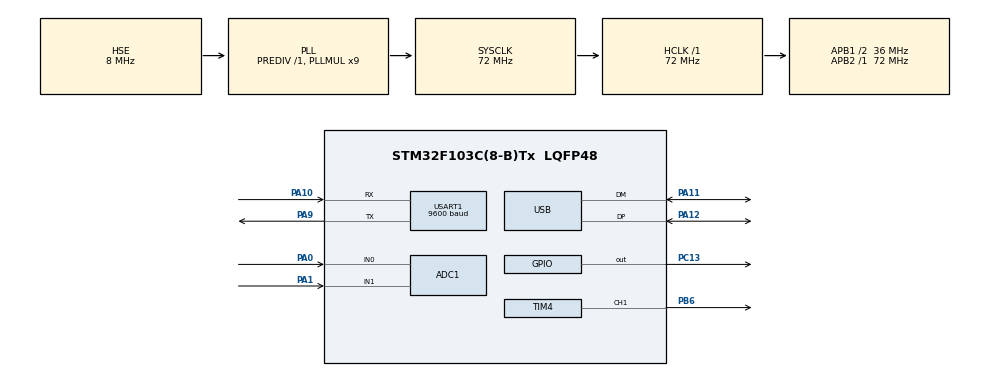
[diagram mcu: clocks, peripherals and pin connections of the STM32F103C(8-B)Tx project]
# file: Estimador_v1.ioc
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Mcu.Family=STM32F1
RCC.PLLSourceVirtual=RCC_PLLSOURCE_HSE
NVIC.ADC1_2_IRQn=true\:0\:0\:false\:false\:true\:true\:true
USB_DEVICE.CLASS_NAME_FS=CDC
ADC1.Rank-0\#ChannelRegularConversion=1
Dma.ADC1.1.MemDataAlignment=DMA_MDATAALIGN_HALFWORD
NVIC.DMA1_Channel5_IRQn=true\:0\:0\:false\:false\:true\:false\:true
Dma.USART1_RX.0.PeriphDataAlignment=DMA_PDATAALIGN_BYTE
PD1-OSC_OUT.Mode=HSE-External-Oscillator
PA10.Mode=Asynchronous
USB_DEVICE.VirtualModeFS=Cdc_FS
USART1.BaudRate=9600
PC13-TAMPER-RTC.Signal=GPIO_Output
RCC.USBPrescaler=RCC_USBCLKSOURCE_PLL_DIV1_5
PA11.Mode=Device
PD0-OSC_IN.Signal=RCC_OSC_IN
RCC.APB1CLKDivider=RCC_HCLK_DIV2
RCC.SYSCLKSource=RCC_SYSCLKSOURCE_PLLCLK
ProjectManager.StackSize=0x400
PA0-WKUP.Signal=ADCx_IN0
PD1-OSC_OUT.Signal=RCC_OSC_OUT
RCC.ADCPresc=RCC_ADCPCLK2_DIV6
PA13.Signal=SYS_JTMS-SWDIO
PA9.Mode=Asynchronous
PA12.Signal=USB_DP
ProjectManager.TargetToolchain=STM32CubeIDE
Dma.ADC1.1.Instance=DMA1_Channel1
Dma.USART1_RX.0.Direction=DMA_PERIPH_TO_MEMORY
RCC.HCLKFreq_Value=72000000
VP_USB_DEVICE_VS_USB_DEVICE_CDC_FS.Mode=CDC_FS
RCC.APB2TimFreq_Value=72000000
TIM3.Period=1000 - 1
PA9.Signal=USART1_TX
PB6.Signal=S_TIM4_CH1
ADC1.Channel-1\#ChannelRegularConversion=ADC_CHANNEL_1
Dma.ADC1.1.PeriphDataAlignment=DMA_PDATAALIGN_HALFWORD
RCC.USBFreq_Value=48000000
TIM4.Prescaler=251 - 1
TIM4.OCMode_1=TIM_OCMODE_TOGGLE
PA1.Signal=ADCx_IN1
RCC.AHBFreq_Value=72000000
Dma.USART1_RX.0.PeriphInc=DMA_PINC_DISABLE
Dma.USART1_RX.0.Priority=DMA_PRIORITY_LOW
PD0-OSC_IN.Mode=HSE-External-Oscillator
ADC1.Channel-0\#ChannelRegularConversion=ADC_CHANNEL_0
board=custom
TIM4.Pulse-Output\ Compare1\ CH1=50
RCC.PLLMUL=RCC_PLL_MUL9
RCC.APB2Freq_Value=72000000
PA14.Mode=Serial_Wire
TIM3.Prescaler=7200 - 1
NVIC.USB_LP_CAN1_RX0_IRQn=true\:0\:0\:false\:false\:true\:false\:true
Dma.ADC1.1.Priority=DMA_PRIORITY_LOW
Dma.USART1_RX.0.MemDataAlignment=DMA_MDATAALIGN_BYTE
Dma.ADC1.1.Mode=DMA_CIRCULAR
TIM4.Channel-Output\ Compare1\ CH1=TIM_CHANNEL_1
SH.ADCx_IN0.0=ADC1_IN0,IN0
Dma.ADC1.1.PeriphInc=DMA_PINC_DISABLE
TIM4.Period=151 - 1
ADC1.NbrOfConversion=2
Dma.USART1_RX.0.MemInc=DMA_MINC_ENABLE
PA13.Mode=Serial_Wire
Mcu.Name=STM32F103C(8-B)Tx
ADC1.SamplingTime-0\#ChannelRegularConversion=ADC_SAMPLETIME_7CYCLES_5
ADC1.ExternalTrigConv=ADC_EXTERNALTRIGCONV_T3_TRGO
ADC1.SamplingTime-1\#ChannelRegularConversion=ADC_SAMPLETIME_7CYCLES_5
RCC.SYSCLKFreq_VALUE=72000000
Mcu.Package=LQFP48
ADC1.master=1
PA12.Mode=Device
Dma.ADC1.1.Direction=DMA_PERIPH_TO_MEMORY
USART1.VirtualMode=VM_ASYNC
ADC1.Rank-1\#ChannelRegularConversion=2
PA11.Signal=USB_DM
Dma.ADC1.1.MemInc=DMA_MINC_ENABLE
PA10.Signal=USART1_RX
PA14.Signal=SYS_JTCK-SWCLK
ProjectManager.HeapSize=0x200
VP_TIM4_VS_ClockSourceINT.Mode=Internal
NVIC.PriorityGroup=NVIC_PRIORITYGROUP_4
ADC1.NbrOfConversionFlag=1
SH.ADCx_IN1.0=ADC1_IN1,IN1
SH.S_TIM4_CH1.0=TIM4_CH1,Output Compare1 CH1
Dma.Request1=ADC1
RCC.APB1TimFreq_Value=72000000
Dma.USART1_RX.0.Mode=DMA_CIRCULAR
NVIC.DMA1_Channel1_IRQn=true\:0\:0\:false\:false\:true\:false\:true
TIM3.TIM_MasterOutputTrigger=TIM_TRGO_UPDATE
NVIC.USART1_IRQn=true\:0\:0\:false\:false\:true\:true\:true
Dma.Request0=USART1_RX
RCC.APB1Freq_Value=36000000
USB_DEVICE.VirtualMode=Cdc
Dma.USART1_RX.0.Instance=DMA1_Channel5
VP_TIM3_VS_ClockSourceINT.Mode=Internal

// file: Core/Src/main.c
/* USER CODE BEGIN Header */
/**
  ******************************************************************************
  * @file           : main.c
  * @brief          : Main program body
  ******************************************************************************
  * @attention
  *
  * <h2><center>&copy; Copyright (c) 2021 STMicroelectronics.
  * All rights reserved.</center></h2>
  *
  * This software component is licensed by ST under Ultimate Liberty license
  * SLA0044, the "License"; You may not use this file except in compliance with
  * the License. You may obtain a copy of the License at:
  *                             www.st.com/SLA0044
  *
  ******************************************************************************
  */
/* USER CODE END Header */
#include "main.h"
#include "usb_device.h"

/* USER CODE BEGIN Includes */
#include "muestras_corriente.h"
#include <stdio.h>
#include <stdlib.h>
#include <math.h>

/* USER CODE END Includes */

/* USER CODE BEGIN PTD */
#define min(a,b) (((a)<(b))?(a):(b))
#define max(a,b) (((a)>(b))?(a):(b))
/* USER CODE END PTD */

ADC_HandleTypeDef hadc1;
DMA_HandleTypeDef hdma_adc1;

TIM_HandleTypeDef htim3;
TIM_HandleTypeDef htim4;

UART_HandleTypeDef huart1;
DMA_HandleTypeDef hdma_usart1_rx;

void SystemClock_Config(void);
static void MX_GPIO_Init(void);
static void MX_DMA_Init(void);
static void MX_TIM3_Init(void);
static void MX_USART1_UART_Init(void);
static void MX_ADC1_Init(void);
static void MX_TIM4_Init(void);

/* USER CODE BEGIN 0 */
#define numSamples  50
const uint16_t fs = 50000;
const float RL = 0.2;
const float L_4mm = 16.2e-3;
float IL[numSamples];
float ILmed;
float deltaIL;
float derivadas[numSamples];
float Yestimada[numSamples];
float Yestimada_promedio;

void corriente(float * IL, float * ViL){
	for(int i=0; i<numSamples; i++){
		IL[i] = ViL[i] / 0.05;
	}
}

float corriente_media(float * IL){
	float sum = 0;
	for(int i = 0; i<numSamples; i++){
		sum += IL[i];
	}
	return sum/numSamples;
}

float delta_corriente(float * IL){
	float ILmax = 0;
	float ILmin = 100;
	for(int i= 0; i<numSamples; i++){
		ILmax = max(IL[i], ILmax);
		ILmin = min(IL[i], ILmin);
	}
	return ILmax - ILmin;
}

void derivar(float * derivadas, float * ViL, float ILmed){
	for(int i= 0; i < numSamples; i++){
		if(i != numSamples - 1){
			derivadas[i] = (ViL[i + 1] - ViL[i] ) * fs;
			derivadas[i] += ILmed * 0.05 * RL / L_4mm;			//corrección I * R
		}
		else
			derivadas[i] = derivadas[i - 1];
	}
}

void estimar(float * Yestimada, float * derivadas){
	for(int i=0; i<numSamples; i++){
		Yestimada[i] = (20 * abs(derivadas[i]) - 7.75e2) / 1.7e5;
	}
}

float promediar(float * Yestimada){
	float sum = 0;
	for(int i = 0; i < numSamples; i++){
		sum += Yestimada[i];
	}
	return sum / numSamples;
}

/* USER CODE END 0 */

int main(void)
{

  /* MCU Configuration--------------------------------------------------------*/

  /* Reset of all peripherals, Initializes the Flash interface and the Systick. */
  HAL_Init();

  /* Configure the system clock */
  SystemClock_Config();

  /* Initialize all configured peripherals */
  MX_GPIO_Init();
  MX_DMA_Init();
  MX_TIM3_Init();
  MX_USART1_UART_Init();
  MX_ADC1_Init();
  MX_USB_DEVICE_Init();
  MX_TIM4_Init();

  /* Infinite loop */
  while (1)
  {

    /* USER CODE BEGIN 3 */
	  corriente(IL, ViL);
	  ILmed = corriente_media(IL);
	  deltaIL = delta_corriente(IL);
	  derivar(derivadas, ViL, ILmed);
	  estimar(Yestimada, derivadas);
	  Yestimada_promedio = promediar(Yestimada);

	  uint8_t printYestimada;
	  if(printYestimada){
		  int Yestimada_int[numSamples];
		  char str[20];
		  for(int i = 0; i < numSamples; i++){
			  Yestimada_int[i] = round(Yestimada[i] * 1e6);
			  if(i != numSamples - 1)
				  sprintf(str, "%d,", Yestimada_int[i]);
			  else
				  sprintf(str, "%d\r\n", Yestimada_int[i]);
			  HAL_UART_Transmit(&huart1, (uint8_t * ) str, strlen(str), 100);
		  }

		  printYestimada = 0;
	  }

	  HAL_Delay(10);
  }
  /* USER CODE END 3 */
}

void SystemClock_Config(void)
{
  RCC_OscInitTypeDef RCC_OscInitStruct = {0};
  RCC_ClkInitTypeDef RCC_ClkInitStruct = {0};
  RCC_PeriphCLKInitTypeDef PeriphClkInit = {0};

  /** Initializes the RCC Oscillators according to the specified parameters
  * in the RCC_OscInitTypeDef structure.
  */
  RCC_OscInitStruct.OscillatorType = RCC_OSCILLATORTYPE_HSE;
  RCC_OscInitStruct.HSEState = RCC_HSE_ON;
  RCC_OscInitStruct.HSEPredivValue = RCC_HSE_PREDIV_DIV1;
  RCC_OscInitStruct.HSIState = RCC_HSI_ON;
  RCC_OscInitStruct.PLL.PLLState = RCC_PLL_ON;
  RCC_OscInitStruct.PLL.PLLSource = RCC_PLLSOURCE_HSE;
  RCC_OscInitStruct.PLL.PLLMUL = RCC_PLL_MUL9;
  if (HAL_RCC_OscConfig(&RCC_OscInitStruct) != HAL_OK)
  {
    Error_Handler();
  }
  /** Initializes the CPU, AHB and APB buses clocks
  */
  RCC_ClkInitStruct.ClockType = RCC_CLOCKTYPE_HCLK|RCC_CLOCKTYPE_SYSCLK
                              |RCC_CLOCKTYPE_PCLK1|RCC_CLOCKTYPE_PCLK2;
  RCC_ClkInitStruct.SYSCLKSource = RCC_SYSCLKSOURCE_PLLCLK;
  RCC_ClkInitStruct.AHBCLKDivider = RCC_SYSCLK_DIV1;
  RCC_ClkInitStruct.APB1CLKDivider = RCC_HCLK_DIV2;
  RCC_ClkInitStruct.APB2CLKDivider = RCC_HCLK_DIV1;

  if (HAL_RCC_ClockConfig(&RCC_ClkInitStruct, FLASH_LATENCY_2) != HAL_OK)
  {
    Error_Handler();
  }
  PeriphClkInit.PeriphClockSelection = RCC_PERIPHCLK_ADC|RCC_PERIPHCLK_USB;
  PeriphClkInit.AdcClockSelection = RCC_ADCPCLK2_DIV6;
  PeriphClkInit.UsbClockSelection = RCC_USBCLKSOURCE_PLL_DIV1_5;
  if (HAL_RCCEx_PeriphCLKConfig(&PeriphClkInit) != HAL_OK)
  {
    Error_Handler();
  }
}

static void MX_ADC1_Init(void)
{

  ADC_ChannelConfTypeDef sConfig = {0};

  /** Common config
  */
  hadc1.Instance = ADC1;
  hadc1.Init.ScanConvMode = ADC_SCAN_ENABLE;
  hadc1.Init.ContinuousConvMode = DISABLE;
  hadc1.Init.DiscontinuousConvMode = DISABLE;
  hadc1.Init.ExternalTrigConv = ADC_EXTERNALTRIGCONV_T3_TRGO;
  hadc1.Init.DataAlign = ADC_DATAALIGN_RIGHT;
  hadc1.Init.NbrOfConversion = 2;
  if (HAL_ADC_Init(&hadc1) != HAL_OK)
  {
    Error_Handler();
  }
  /** Configure Regular Channel
  */
  sConfig.Channel = ADC_CHANNEL_0;
  sConfig.Rank = ADC_REGULAR_RANK_1;
  sConfig.SamplingTime = ADC_SAMPLETIME_7CYCLES_5;
  if (HAL_ADC_ConfigChannel(&hadc1, &sConfig) != HAL_OK)
  {
    Error_Handler();
  }
  /** Configure Regular Channel
  */
  sConfig.Channel = ADC_CHANNEL_1;
  sConfig.Rank = ADC_REGULAR_RANK_2;
  if (HAL_ADC_ConfigChannel(&hadc1, &sConfig) != HAL_OK)
  {
    Error_Handler();
  }

}

static void MX_TIM3_Init(void)
{

  TIM_ClockConfigTypeDef sClockSourceConfig = {0};
  TIM_MasterConfigTypeDef sMasterConfig = {0};

  htim3.Instance = TIM3;
  htim3.Init.Prescaler = 7200 - 1;
  htim3.Init.CounterMode = TIM_COUNTERMODE_UP;
  htim3.Init.Period = 1000 - 1;
  htim3.Init.ClockDivision = TIM_CLOCKDIVISION_DIV1;
  htim3.Init.AutoReloadPreload = TIM_AUTORELOAD_PRELOAD_DISABLE;
  if (HAL_TIM_Base_Init(&htim3) != HAL_OK)
  {
    Error_Handler();
  }
  sClockSourceConfig.ClockSource = TIM_CLOCKSOURCE_INTERNAL;
  if (HAL_TIM_ConfigClockSource(&htim3, &sClockSourceConfig) != HAL_OK)
  {
    Error_Handler();
  }
  sMasterConfig.MasterOutputTrigger = TIM_TRGO_UPDATE;
  sMasterConfig.MasterSlaveMode = TIM_MASTERSLAVEMODE_DISABLE;
  if (HAL_TIMEx_MasterConfigSynchronization(&htim3, &sMasterConfig) != HAL_OK)
  {
    Error_Handler();
  }

}

static void MX_TIM4_Init(void)
{

  TIM_ClockConfigTypeDef sClockSourceConfig = {0};
  TIM_MasterConfigTypeDef sMasterConfig = {0};
  TIM_OC_InitTypeDef sConfigOC = {0};

  htim4.Instance = TIM4;
  htim4.Init.Prescaler = 251 - 1;
  htim4.Init.CounterMode = TIM_COUNTERMODE_UP;
  htim4.Init.Period = 151 - 1;
  htim4.Init.ClockDivision = TIM_CLOCKDIVISION_DIV1;
  htim4.Init.AutoReloadPreload = TIM_AUTORELOAD_PRELOAD_DISABLE;
  if (HAL_TIM_Base_Init(&htim4) != HAL_OK)
  {
    Error_Handler();
  }
  sClockSourceConfig.ClockSource = TIM_CLOCKSOURCE_INTERNAL;
  if (HAL_TIM_ConfigClockSource(&htim4, &sClockSourceConfig) != HAL_OK)
  {
    Error_Handler();
  }
  if (HAL_TIM_OC_Init(&htim4) != HAL_OK)
  {
    Error_Handler();
  }
  sMasterConfig.MasterOutputTrigger = TIM_TRGO_RESET;
  sMasterConfig.MasterSlaveMode = TIM_MASTERSLAVEMODE_DISABLE;
  if (HAL_TIMEx_MasterConfigSynchronization(&htim4, &sMasterConfig) != HAL_OK)
  {
    Error_Handler();
  }
  sConfigOC.OCMode = TIM_OCMODE_TOGGLE;
  sConfigOC.Pulse = 50;
  sConfigOC.OCPolarity = TIM_OCPOLARITY_HIGH;
  sConfigOC.OCFastMode = TIM_OCFAST_DISABLE;
  if (HAL_TIM_OC_ConfigChannel(&htim4, &sConfigOC, TIM_CHANNEL_1) != HAL_OK)
  {
    Error_Handler();
  }
  HAL_TIM_MspPostInit(&htim4);

}

static void MX_USART1_UART_Init(void)
{

  huart1.Instance = USART1;
  huart1.Init.BaudRate = 9600;
  huart1.Init.WordLength = UART_WORDLENGTH_8B;
  huart1.Init.StopBits = UART_STOPBITS_1;
  huart1.Init.Parity = UART_PARITY_NONE;
  huart1.Init.Mode = UART_MODE_TX_RX;
  huart1.Init.HwFlowCtl = UART_HWCONTROL_NONE;
  huart1.Init.OverSampling = UART_OVERSAMPLING_16;
  if (HAL_UART_Init(&huart1) != HAL_OK)
  {
    Error_Handler();
  }

}

static void MX_DMA_Init(void)
{

  /* DMA controller clock enable */
  __HAL_RCC_DMA1_CLK_ENABLE();

  /* DMA interrupt init */
  /* DMA1_Channel1_IRQn interrupt configuration */
  HAL_NVIC_SetPriority(DMA1_Channel1_IRQn, 0, 0);
  HAL_NVIC_EnableIRQ(DMA1_Channel1_IRQn);
  /* DMA1_Channel5_IRQn interrupt configuration */
  HAL_NVIC_SetPriority(DMA1_Channel5_IRQn, 0, 0);
  HAL_NVIC_EnableIRQ(DMA1_Channel5_IRQn);

}

static void MX_GPIO_Init(void)
{
  GPIO_InitTypeDef GPIO_InitStruct = {0};

  /* GPIO Ports Clock Enable */
  __HAL_RCC_GPIOC_CLK_ENABLE();
  __HAL_RCC_GPIOD_CLK_ENABLE();
  __HAL_RCC_GPIOA_CLK_ENABLE();
  __HAL_RCC_GPIOB_CLK_ENABLE();

  /*Configure GPIO pin Output Level */
  HAL_GPIO_WritePin(GPIOC, GPIO_PIN_13, GPIO_PIN_RESET);

  /*Configure GPIO pin : PC13 */
  GPIO_InitStruct.Pin = GPIO_PIN_13;
  GPIO_InitStruct.Mode = GPIO_MODE_OUTPUT_PP;
  GPIO_InitStruct.Pull = GPIO_NOPULL;
  GPIO_InitStruct.Speed = GPIO_SPEED_FREQ_LOW;
  HAL_GPIO_Init(GPIOC, &GPIO_InitStruct);

}

void Error_Handler(void)
{
  __disable_irq();
  while (1)
  {
  }
}

/************************ (C) COPYRIGHT STMicroelectronics *****END OF FILE****/
